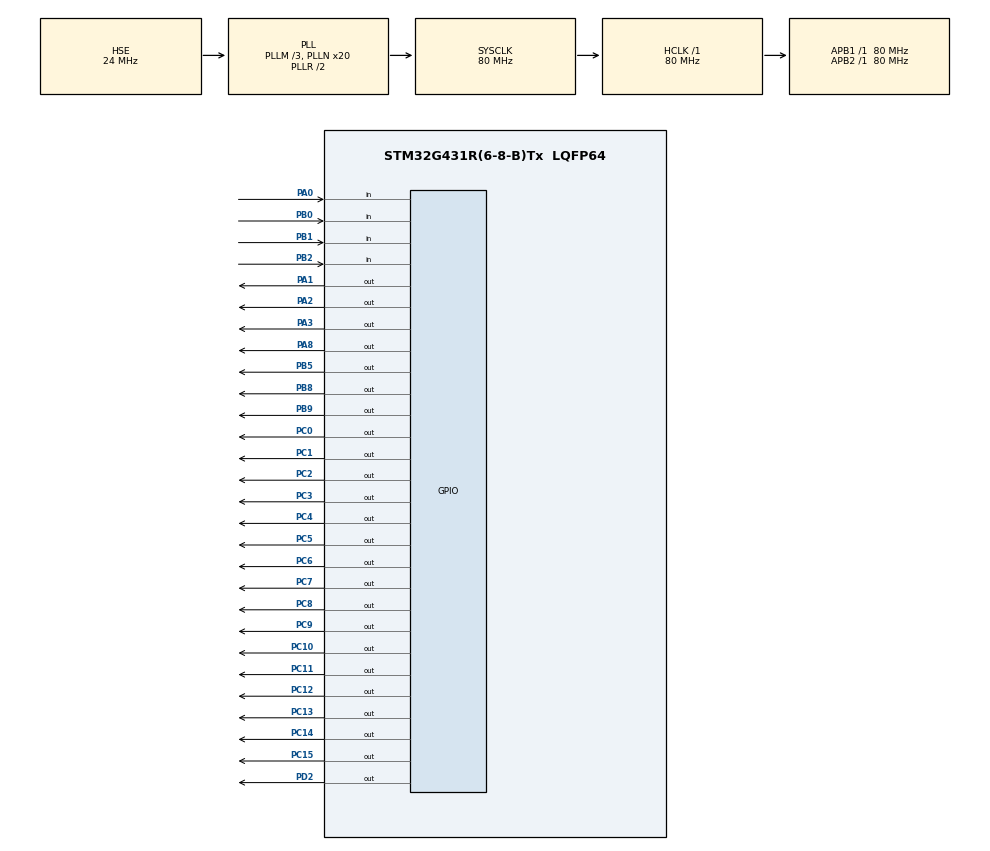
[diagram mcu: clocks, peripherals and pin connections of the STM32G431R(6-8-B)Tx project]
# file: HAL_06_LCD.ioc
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Mcu.Family=STM32G4
PA2.GPIO_PuPd=GPIO_NOPULL
RCC.CortexFreq_Value=80000000
PC10.Signal=GPIO_Output
PC12.Signal=GPIO_Output
PA3.GPIO_PuPd=GPIO_NOPULL
PA2.GPIO_Speed=GPIO_SPEED_FREQ_HIGH
PA3.GPIO_Speed=GPIO_SPEED_FREQ_HIGH
RCC.SYSCLKSource=RCC_SYSCLKSOURCE_PLLCLK
ProjectManager.StackSize=0x400
PB1.GPIO_PuPd=GPIO_NOPULL
RCC.HCLKFreq_Value=80000000
RCC.APB2TimFreq_Value=80000000
PC7.Signal=GPIO_Output
PC3.Signal=GPIO_Output
PA1.GPIO_PuPd=GPIO_NOPULL
RCC.AHBFreq_Value=80000000
RCC.HSE_VALUE=24000000
PB2.Signal=GPIO_Input
RCC.ADC12Freq_Value=80000000
PA2.PinState=GPIO_PIN_RESET
PA14.Mode=Serial_Wire
VP_SYS_VS_DBSignals.Mode=DisableDeadBatterySignals
PA8.Signal=GPIO_Output
PB2.GPIO_PuPd=GPIO_NOPULL
PA0.Signal=GPIO_Input
Mcu.Package=LQFP64
PB9.Signal=GPIO_Output
PB1.Signal=GPIO_Input
PA2.GPIO_ModeDefaultOutputPP=GPIO_MODE_OUTPUT_PP
PB0.GPIO_Mode=GPIO_MODE_INPUT
PA0.GPIO_PuPd=GPIO_NOPULL
PA1.PinState=GPIO_PIN_RESET
RCC.APB1TimFreq_Value=80000000
PC5.Signal=GPIO_Output
PF1-OSC_OUT.Mode=HSE-External-Oscillator
PF1-OSC_OUT.Signal=RCC_OSC_OUT
RCC.HSI48_VALUE=48000000
PA3.Signal=GPIO_Output
RCC.PLLSourceVirtual=RCC_PLLSOURCE_HSE
TIM4.AutoReloadPreload=TIM_AUTORELOAD_PRELOAD_ENABLE
PA3.GPIO_ModeDefaultOutputPP=GPIO_MODE_OUTPUT_PP
PC11.Signal=GPIO_Output
PC13.Signal=GPIO_Output
TIM4.PeriodNoDither=1000 - 1
PC8.Signal=GPIO_Output
PC2.Signal=GPIO_Output
PC4.Signal=GPIO_Output
PC6.Signal=GPIO_Output
PA0.GPIO_Mode=GPIO_MODE_INPUT
RCC.EXTERNAL_CLOCK_VALUE=12288000
PC0.Signal=GPIO_Output
PC14-OSC32_IN.Signal=GPIO_Output
PA13.Signal=SYS_JTMS-SWDIO
ProjectManager.TargetToolchain=MDK-ARM V5.27
PB1.GPIO_Mode=GPIO_MODE_INPUT
RCC.USBFreq_Value=80000000
TIM4.Prescaler=80 - 1
RCC.LSE_VALUE=32768
PC15-OSC32_OUT.Signal=GPIO_Output
PA1.Signal=GPIO_Output
PF0-OSC_IN.Mode=HSE-External-Oscillator
PB8-BOOT0.Signal=GPIO_Output
board=custom
RCC.VCOOutputFreq_Value=160000000
RCC.APB2Freq_Value=80000000
PB2.GPIO_Mode=GPIO_MODE_INPUT
PA1.GPIO_Speed=GPIO_SPEED_FREQ_HIGH
PA13.Mode=Serial_Wire
Mcu.Name=STM32G431R(6-8-B)Tx
PA2.Signal=GPIO_Output
RCC.SYSCLKFreq_VALUE=80000000
PB5.Signal=GPIO_Output
PA14.Signal=SYS_JTCK-SWCLK
ProjectManager.HeapSize=0x200
RCC.HSI_VALUE=16000000
VP_TIM4_VS_ClockSourceINT.Mode=Internal
NVIC.PriorityGroup=NVIC_PRIORITYGROUP_4
RCC.PLLM=RCC_PLLM_DIV3
RCC.PLLN=20
PA3.PinState=GPIO_PIN_RESET
PC9.Signal=GPIO_Output
PF0-OSC_IN.Signal=RCC_OSC_IN
PD2.Signal=GPIO_Output
NVIC.TIM4_IRQn=true\:0\:0\:false\:false\:true\:true\:true
RCC.APB1Freq_Value=80000000
PB0.Signal=GPIO_Input
PC1.Signal=GPIO_Output
PB0.GPIO_PuPd=GPIO_NOPULL
PA1.GPIO_ModeDefaultOutputPP=GPIO_MODE_OUTPUT_PP

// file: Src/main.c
/* USER CODE BEGIN Header */
/**
  ******************************************************************************
  * @file           : main.c
  * @brief          : Main program body
  ******************************************************************************
  * @attention
  *
  * <h2><center>&copy; Copyright (c) 2021 STMicroelectronics.
  * All rights reserved.</center></h2>
  *
  * This software component is licensed by ST under BSD 3-Clause license,
  * the "License"; You may not use this file except in compliance with the
  * License. You may obtain a copy of the License at:
  *                        opensource.org/licenses/BSD-3-Clause
  *
  ******************************************************************************
  */
/* USER CODE END Header */

#include "main.h"
#include "tim.h"
#include "gpio.h"

/* USER CODE BEGIN PV */
uint16_t led_tick = 0;
_Bool led_flag = 0;

uint8_t key_tick = 0;

uint8_t seg_tick = 0;
uint16_t seg_cnt = 0;
_Bool seg_flag = 0;
/* USER CODE END PV */

void SystemClock_Config(void);
/* USER CODE BEGIN PFP */
void led_proc(void);
void key_scan(void);
void seg_proc(void);
/* USER CODE END PFP */

int main(void)
{

  /* MCU Configuration--------------------------------------------------------*/

  /* Reset of all peripherals, Initializes the Flash interface and the Systick. */
  HAL_Init();

  /* Configure the system clock */
  SystemClock_Config();

  /* Initialize all configured peripherals */
  MX_GPIO_Init();
  MX_TIM4_Init();
  /* USER CODE BEGIN 2 */

	LCD_Init();

	led_init();

	HAL_TIM_Base_Start_IT(&htim4);

  /* USER CODE END 2 */

  /* Infinite loop */
  /* USER CODE BEGIN WHILE */

	LCD_Clear(Blue);
	LCD_SetBackColor(Blue);
	LCD_SetTextColor(White);

	LCD_DisplayStringLine(Line0, (uint8_t *)"                    ");
	LCD_DisplayStringLine(Line1, (uint8_t *)"                    ");
	LCD_DisplayStringLine(Line2, (uint8_t *)"      LCD Test      ");
	LCD_DisplayStringLine(Line3, (uint8_t *)"                    ");
	LCD_DisplayStringLine(Line4, (uint8_t *)"                    ");

	LCD_SetBackColor(White);
	LCD_SetTextColor(Blue);

	LCD_DisplayStringLine(Line5, (uint8_t *)"                    ");
	LCD_DisplayStringLine(Line6, (uint8_t *)"       HAL LIB      ");
	LCD_DisplayStringLine(Line7, (uint8_t *)"                    ");
	LCD_DisplayStringLine(Line8, (uint8_t *)"         @80        ");
	LCD_DisplayStringLine(Line9, (uint8_t *)"                    ");

	seg_set(seg_cnt / 100,seg_cnt / 10 % 10,seg_cnt % 10);

  while (1)
  {
    /* USER CODE END WHILE */

    /* USER CODE BEGIN 3 */
		led_proc();
		seg_proc();
  }
  /* USER CODE END 3 */
}

void SystemClock_Config(void)
{
  RCC_OscInitTypeDef RCC_OscInitStruct = {0};
  RCC_ClkInitTypeDef RCC_ClkInitStruct = {0};

  /** Configure the main internal regulator output voltage
  */
  HAL_PWREx_ControlVoltageScaling(PWR_REGULATOR_VOLTAGE_SCALE1);
  /** Initializes the CPU, AHB and APB busses clocks
  */
  RCC_OscInitStruct.OscillatorType = RCC_OSCILLATORTYPE_HSE;
  RCC_OscInitStruct.HSEState = RCC_HSE_ON;
  RCC_OscInitStruct.PLL.PLLState = RCC_PLL_ON;
  RCC_OscInitStruct.PLL.PLLSource = RCC_PLLSOURCE_HSE;
  RCC_OscInitStruct.PLL.PLLM = RCC_PLLM_DIV3;
  RCC_OscInitStruct.PLL.PLLN = 20;
  RCC_OscInitStruct.PLL.PLLP = RCC_PLLP_DIV2;
  RCC_OscInitStruct.PLL.PLLQ = RCC_PLLQ_DIV2;
  RCC_OscInitStruct.PLL.PLLR = RCC_PLLR_DIV2;
  if (HAL_RCC_OscConfig(&RCC_OscInitStruct) != HAL_OK)
  {
    Error_Handler();
  }
  /** Initializes the CPU, AHB and APB busses clocks
  */
  RCC_ClkInitStruct.ClockType = RCC_CLOCKTYPE_HCLK|RCC_CLOCKTYPE_SYSCLK
                              |RCC_CLOCKTYPE_PCLK1|RCC_CLOCKTYPE_PCLK2;
  RCC_ClkInitStruct.SYSCLKSource = RCC_SYSCLKSOURCE_PLLCLK;
  RCC_ClkInitStruct.AHBCLKDivider = RCC_SYSCLK_DIV1;
  RCC_ClkInitStruct.APB1CLKDivider = RCC_HCLK_DIV1;
  RCC_ClkInitStruct.APB2CLKDivider = RCC_HCLK_DIV1;

  if (HAL_RCC_ClockConfig(&RCC_ClkInitStruct, FLASH_LATENCY_3) != HAL_OK)
  {
    Error_Handler();
  }
}

/* USER CODE BEGIN 4 */
void seg_proc(void)
{
	if(seg_flag)
	{
		seg_cnt = (seg_cnt + 1) % 1000;
		seg_flag = 0;
		seg_set(seg_cnt / 100,seg_cnt / 10 % 10,seg_cnt % 10);
	}
}

void key_scan(void)
{
	key_refresh();
	if(key_falling == B1)
	{
		led_toggle(LD5);
	}
	else if(key_falling == B2)
	{
		led_toggle(LD6);
	}
	else if(key_falling == B3)
	{
		led_toggle(LD7);
	}
	else if(key_falling == B4)
	{
		led_toggle(LD8);
	}
}

void led_proc(void)
{
	if(led_flag)
	{
		led_flag = 0;
		led_toggle(LD1);
	}
}

void HAL_TIM_PeriodElapsedCallback(TIM_HandleTypeDef *htim)
{
	if(htim->Instance == TIM4)
	{
		if(++led_tick == 1000)
		{
			led_tick = 0;
			led_flag = 1;
		}
		if(++key_tick == 10)
		{
			key_tick = 0;
			key_scan();
		}
		if(++seg_tick == 100)
		{
			seg_tick = 0;
			seg_flag = 1;
		}
	}
}
/* USER CODE END 4 */

void Error_Handler(void)
{
}

/************************ (C) COPYRIGHT STMicroelectronics *****END OF FILE****/
